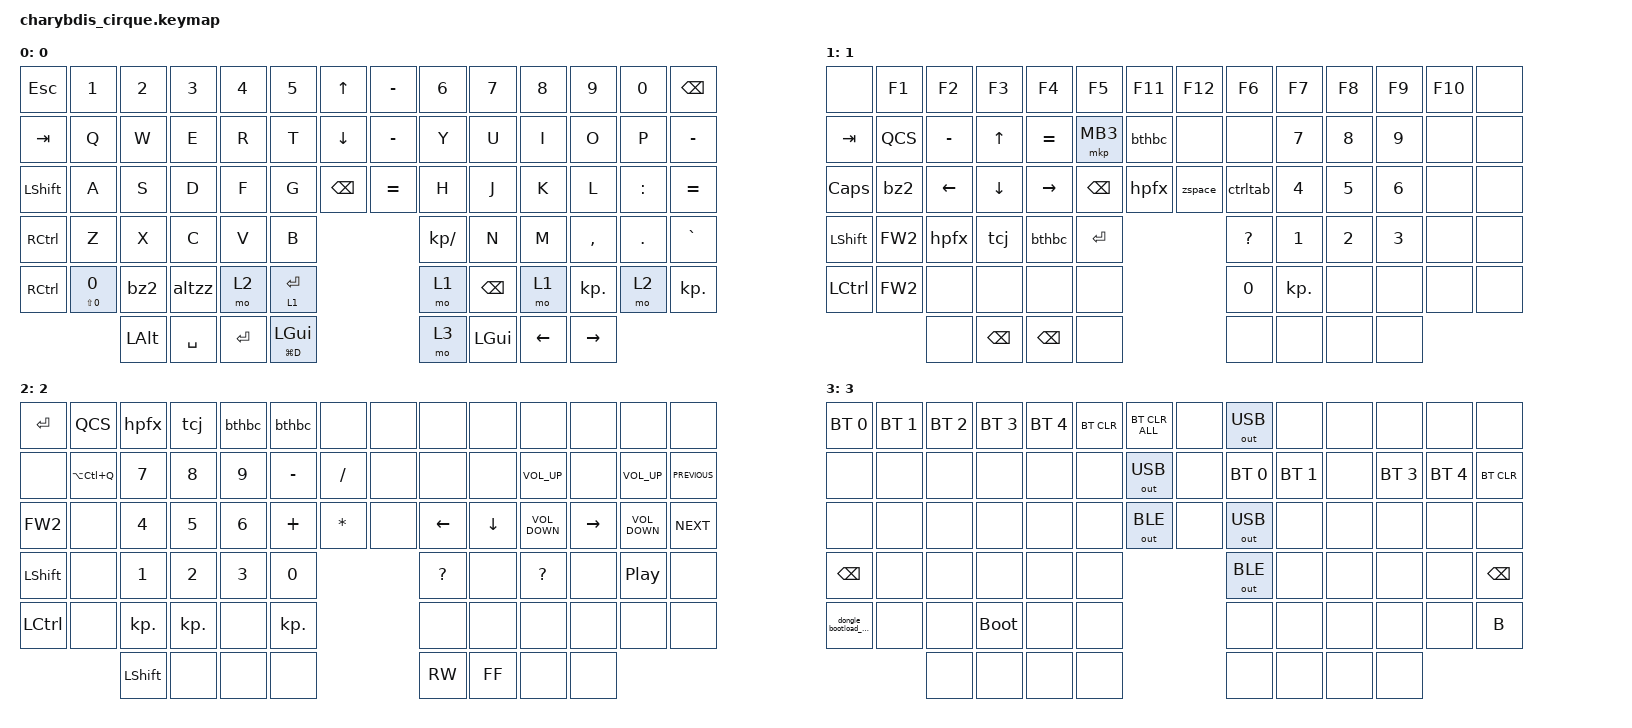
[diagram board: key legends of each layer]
#include <behaviors.dtsi>
#include <dt-bindings/zmk/bt.h>
#include <dt-bindings/zmk/keys.h>
#include <dt-bindings/zmk/mouse.h>
#include <dt-bindings/zmk/outputs.h>

#define DEFAULT 0
#define NUMBER  1
#define SYMBOL  2
#define HOTKEY  3

#define AS(keycode) &as LS(keycode) keycode

&lt {
    tapping-term-ms = <180>;
    quick-tap-ms = <180>;
    require-prior-idle-ms = <180>;
};

/ {
    macros {
        dongle_bootload_macro: bootload_macro {
            compatible = "zmk,behavior-macro";
            #binding-cells = <0>;
            bindings = <&bootloader>;
            label = "BOOTLOAD_MACRO";
        };

        zspace: z {
            compatible = "zmk,behavior-macro";
            #binding-cells = <0>;
            bindings = <&kp Z &kp SPACE &kp ENTER>;
            label = "Z";
            wait-ms = <5>;
            tap-ms = <5>;
        };

        ctrltab: ctrltab {
            compatible = "zmk,behavior-macro";
            #binding-cells = <0>;
            bindings = <&kp LC(TAB)>;
            label = "CTRLTAB";
            wait-ms = <50>;
            tap-ms = <25>;
        };

        hpfx: hpfx {
            compatible = "zmk,behavior-macro";
            #binding-cells = <0>;
            bindings = <&kp H &kp P &kp F &kp X &kp SPACE>;
            label = "HPFX";
            wait-ms = <5>;
            tap-ms = <5>;
        };

        tcj: tcj {
            compatible = "zmk,behavior-macro";
            #binding-cells = <0>;
            bindings = <&kp T &kp C &kp J &kp SPACE>;
            label = "TCJ";
            wait-ms = <5>;
            tap-ms = <5>;
        };

        bthbc: bthbc {
            compatible = "zmk,behavior-macro";
            #binding-cells = <0>;
            bindings = <&kp B &kp T &kp SPACE>;
            label = "BTHBC";
            wait-ms = <5>;
            tap-ms = <5>;
        };

        QCS: QCS {
            compatible = "zmk,behavior-macro";
            #binding-cells = <0>;
            bindings = <&kp Y &kp K &kp J &kp SPACE &kp SPACE &kp Q &kp C &kp S &kp SPACE &kp SPACE &kp X &kp X &kp N &kp SPACE>;
            label = "QCS";
            wait-ms = <10>;
            tap-ms = <10>;
        };

        bz2: bz2 {
            compatible = "zmk,behavior-macro";
            #binding-cells = <0>;
            bindings = <&kp B &kp Z &kp NUMBER_2>;
            label = "BZ2";
            wait-ms = <5>;
            tap-ms = <5>;
        };

        altzz: altzz {
            compatible = "zmk,behavior-macro";
            #binding-cells = <0>;
            bindings = <&kp LA(Z)>;
            label = "ALTZZ";
            wait-ms = <5>;
            tap-ms = <5>;
        };

        FW2: FW2 {
            compatible = "zmk,behavior-macro";
            #binding-cells = <0>;
            bindings = <&kp F &kp W &kp NUMBER_2>;
            label = "FW2";
            wait-ms = <5>;
            tap-ms = <5>;
        };
    };

    combos {
        compatible = "zmk,combos";

        backspace {
            bindings = <&none>;
            key-positions = <59 58>;
        };

        backspaceL {
            bindings = <&none>;
            key-positions = <60 61>;
        };
    };

    behaviors {
        as: auto_shift {
            compatible = "zmk,behavior-hold-tap";
            label = "AUTO_SHIFT";
            bindings = <&kp>, <&kp>;

            #binding-cells = <2>;
            tapping-term-ms = <200>;
            quick-tap-ms = <180>;
            require-prior-idle-ms = <50>;
        };
    };

    keymap {
        compatible = "zmk,keymap";

        NO0 {
            label = "0";
            bindings = <
&kp ESC         &kp N1         &kp N2        &kp N3     &kp N4     &kp N5              &kp UP_ARROW    &kp MINUS  &kp N6        &kp N7         &kp N8    &kp N9      &kp N0      &kp BSPC
&kp TAB         &kp Q          &kp W         &kp E      &kp R      &kp T               &kp DOWN_ARROW  &kp MINUS  &kp Y         &kp U          &kp I     &kp O       &kp P       &kp MINUS
&kp LEFT_SHIFT  &kp A          &kp S         &kp D      &kp F      &kp G               &kp BACKSPACE   &kp EQUAL  &kp H         &kp J          &kp K     &kp L       &kp COLON   &kp EQUAL
&kp RCTRL       &kp Z          &kp X         &kp C      &kp V      &kp B                                          &kp KP_SLASH  &kp N          &kp M     &kp COMMA   &kp PERIOD  &kp GRAVE
&kp RCTRL       &as LS(N0) N0  &bz2          &altzz     &mo 2      &lt 1 ENTER                                    &mo 1         &kp BACKSPACE  &mo 1     &kp KP_DOT  &mo 2       &kp KP_DOT
                               &kp LEFT_ALT  &kp SPACE  &kp ENTER  &as LG(D) LEFT_GUI                             &mo 3         &kp LEFT_GUI   &kp LEFT  &kp RIGHT
            >;
        };

        NO1 {
            label = "1";
            bindings = <
&none           &kp F1  &kp F2          &kp F3          &kp F4           &kp F5         &kp F11  &kp F12  &kp F6        &kp F7        &kp F8  &kp F9  &kp F10  &none
&kp TAB         &QCS    &kp MINUS       &kp UP_ARROW    &kp EQUAL        &mkp MB3       &bthbc   &none    &none         &kp N7        &kp N8  &kp N9  &none    &none
&kp CAPSLOCK    &bz2    &kp LEFT_ARROW  &kp DOWN_ARROW  &kp RIGHT_ARROW  &kp BACKSPACE  &hpfx    &zspace  &ctrltab      &kp N4        &kp N5  &kp N6  &none    &none
&kp LEFT_SHIFT  &FW2    &hpfx           &tcj            &bthbc           &kp ENTER                        &kp QUESTION  &kp NUMBER_1  &kp N2  &kp N3  &none    &none
&kp LCTRL       &FW2    &none           &none           &none            &none                            &kp N0        &kp KP_DOT    &none   &none   &none    &none
                        &none           &kp BSPC        &kp BSPC         &none                            &none         &none         &none   &none
            >;
        };

        NO2 {
            label = "2";
            bindings = <
&kp ENTER       &QCS           &hpfx       &tcj        &bthbc  &bthbc      &none         &none  &none         &none     &none              &none      &none              &none
&none           &kp LA(LC(Q))  &kp N7      &kp N8      &kp N9  &kp MINUS   &kp SLASH     &none  &none         &none     &kp C_VOLUME_UP    &none      &kp C_VOLUME_UP    &kp C_PREVIOUS
&FW2            &none          &kp N4      &kp N5      &kp N6  &kp PLUS    &kp ASTERISK  &none  &kp LEFT      &kp DOWN  &kp C_VOLUME_DOWN  &kp RIGHT  &kp C_VOLUME_DOWN  &kp C_NEXT
&kp LEFT_SHIFT  &none          &kp N1      &kp N2      &kp N3  &kp N0                           &kp QUESTION  &none     &kp QUESTION       &none      &kp C_PLAY_PAUSE   &none
&kp LCTRL       &none          &kp KP_DOT  &kp KP_DOT  &none   &kp KP_DOT                       &none         &none     &none              &none      &none              &none
                               &kp LSHFT   &none       &none   &none                            &kp C_RW      &kp C_FF  &none              &none
            >;
        };

        NO3 {
            label = "3";
            bindings = <
&bt BT_SEL 0            &bt BT_SEL 1  &bt BT_SEL 2  &bt BT_SEL 3  &bt BT_SEL 4  &bt BT_CLR  &bt BT_CLR_ALL  &none  &out OUT_USB  &none         &none  &none         &none         &none
&none                   &none         &none         &none         &none         &none       &out OUT_USB    &none  &bt BT_SEL 0  &bt BT_SEL 1  &none  &bt BT_SEL 3  &bt BT_SEL 4  &bt BT_CLR
&none                   &none         &none         &none         &none         &none       &out OUT_BLE    &none  &out OUT_USB  &none         &none  &none         &none         &none
&kp BACKSPACE           &none         &none         &none         &none         &none                              &out OUT_BLE  &none         &none  &none         &none         &kp BACKSPACE
&dongle_bootload_macro  &none         &none         &bootloader   &none         &none                              &none         &none         &none  &none         &none         &kp B
                                      &none         &none         &none         &none                              &none         &none         &none  &none
            >;
        };
    };

    conditional_layers {
        compatible = "zmk,conditional-layers";

        Flash {
            if-layers = <1 2>;
            then-layer = <3>;
        };
    };
};
